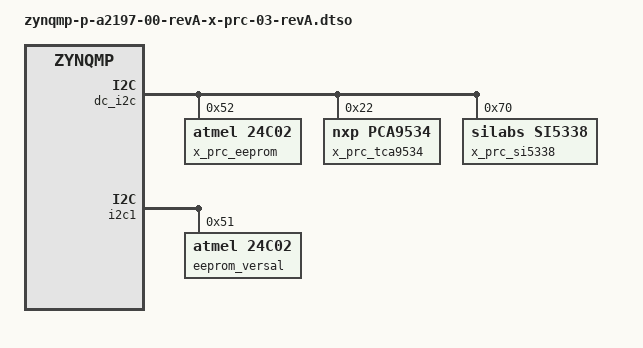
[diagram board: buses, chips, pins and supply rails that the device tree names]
// SPDX-License-Identifier: GPL-2.0
/*
 * dts file for Xilinx ZynqMP System Controller X-PRC-03 revA (SE3)
 *
 * (C) Copyright 2019 - 2022, Xilinx, Inc.
 * (C) Copyright 2022 - 2023, Advanced Micro Devices, Inc.
 *
 * Michal Simek <michal.simek@amd.com>
 */

/dts-v1/;
/plugin/;

/{
	compatible = "xlnx,zynqmp-x-prc-03-revA", "xlnx,zynqmp-x-prc-03";

	fragment@0 {
		target = <&dc_i2c>;

		__overlay__ {
			#address-cells = <1>;
			#size-cells = <0>;

			x_prc_eeprom: eeprom@52 { /* u1 */
				compatible = "atmel,24c02";
				reg = <0x52>;
			};

			x_prc_tca9534: gpio@22 { /* u3 tca9534 */
				compatible = "nxp,pca9534";
				reg = <0x22>;
				gpio-controller; /* IRQ not connected */
				#gpio-cells = <2>;
				gpio-line-names = "sw4_1", "sw4_2", "sw4_3", "sw4_4",
						  "", "", "", "";
				gtr-sel0 {
					gpio-hog;
					gpios = <0 0>;
					input; /* FIXME add meaning */
					line-name = "sw4_1";
				};
				gtr-sel1 {
					gpio-hog;
					gpios = <1 0>;
					input; /* FIXME add meaning */
					line-name = "sw4_2";
				};
				gtr-sel2 {
					gpio-hog;
					gpios = <2 0>;
					input; /* FIXME add meaning */
					line-name = "sw4_3";
				};
				gtr-sel3 {
					gpio-hog;
					gpios = <3 0>;
					input; /* FIXME add meaning */
					line-name = "sw4_4";
				};
			};
			x_prc_si5338: clock-generator@70 { /* U9 */
				compatible = "silabs,si5338";
				reg = <0x70>; /* FIXME */
			};
		};
	};

	fragment@1 {
		target = <&i2c1>; /* Must be enabled via J90/J91 */
		__overlay__ {
			#address-cells = <1>;
			#size-cells = <0>;

			eeprom_versal: eeprom@51 { /* u2 */
				compatible = "atmel,24c02";
				reg = <0x51>;
			};
		};
	};
};
